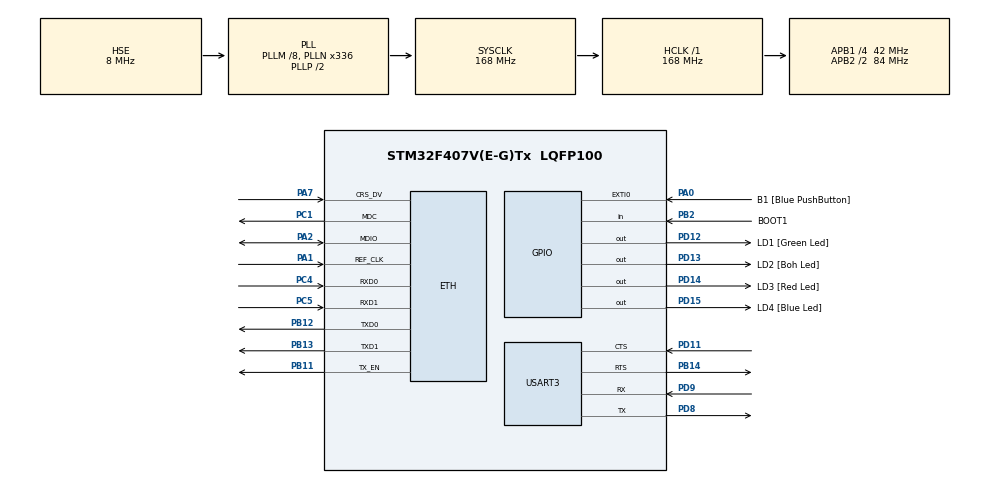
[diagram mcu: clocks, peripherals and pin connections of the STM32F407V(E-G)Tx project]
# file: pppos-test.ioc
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ETH.MediaInterface=HAL_ETH_RMII_MODE
FREERTOS.Tasks01=defaultTask,0,1280,StartDefaultTask,Default,NULL,Dynamic,NULL,NULL
FREERTOS.configTOTAL_HEAP_SIZE=30720
FREERTOS.configUSE_NEWLIB_REENTRANT=1
LWIP.BSP.number=1
LWIP.CHAP_SUPPORT=1
LWIP.CHECKSUM_GEN_IP=1
LWIP.CHECKSUM_GEN_TCP=1
LWIP.LWIP_INCLUDED_POLARSSL_ARC4=1
LWIP.LWIP_INCLUDED_POLARSSL_DES=1
LWIP.LWIP_INCLUDED_POLARSSL_MD4=1
LWIP.LWIP_INCLUDED_POLARSSL_SHA1=1
LWIP.MEMP_NUM_SYS_TIMEOUT=8
LWIP.PAP_SUPPORT=1
LWIP.PPPOS_SUPPORT=1
LWIP.PPP_SUPPORT=1
LWIP.Version=v2.1.2_Cube
LWIP0.BSP.STBoard=false
LWIP0.BSP.api=BSP_COMPONENT_DRIVER
LWIP0.BSP.component=LAN8742
LWIP0.BSP.instance=LAN8742
LWIP0.BSP.name=Driver_PHY
LWIP0.BSP.semaphore=S_LAN8742
LWIP0.BSP.solution=LAN8742
Mcu.Family=STM32F4
Mcu.Name=STM32F407V(E-G)Tx
Mcu.Package=LQFP100
NVIC.ETH_IRQn=true\:5\:0\:false\:false\:true\:true\:false\:true\:true
NVIC.PriorityGroup=NVIC_PRIORITYGROUP_4
NVIC.TIM1_UP_TIM10_IRQn=true\:15\:0\:false\:false\:true\:false\:false\:true\:true
NVIC.TimeBase=TIM1_UP_TIM10_IRQn
NVIC.TimeBaseIP=TIM1
PA0-WKUP.GPIO_Label=B1 [Blue PushButton]
PA0-WKUP.GPIO_ModeDefaultEXTI=GPIO_MODE_EVT_RISING
PA0-WKUP.GPIO_PuPd=GPIO_NOPULL
PA0-WKUP.Signal=GPXTI0
PA1.Mode=RMII
PA1.Signal=ETH_REF_CLK
PA13.GPIO_Label=SWDIO
PA13.Mode=Trace_Asynchronous_SW
PA13.Signal=SYS_JTMS-SWDIO
PA14.GPIO_Label=SWCLK
PA14.Mode=Trace_Asynchronous_SW
PA14.Signal=SYS_JTCK-SWCLK
PA2.Mode=RMII
PA2.Signal=ETH_MDIO
PA7.Mode=RMII
PA7.Signal=ETH_CRS_DV
PB11.Mode=RMII
PB11.Signal=ETH_TX_EN
PB12.Mode=RMII
PB12.Signal=ETH_TXD0
PB13.Mode=RMII
PB13.Signal=ETH_TXD1
PB14.Mode=CTS_RTS
PB14.Signal=USART3_RTS
PB2.GPIO_Label=BOOT1
PB2.GPIO_Mode=GPIO_MODE_INPUT
PB2.GPIO_PuPd=GPIO_NOPULL
PB2.Signal=GPIO_Input
PB3.GPIO_Label=SWO
PB3.Mode=Trace_Asynchronous_SW
PB3.Signal=SYS_JTDO-SWO
PC1.Mode=RMII
PC1.Signal=ETH_MDC
PC14-OSC32_IN.GPIO_Label=PC14-OSC32_IN
PC14-OSC32_IN.Mode=LSE-External-Oscillator
PC14-OSC32_IN.Signal=RCC_OSC32_IN
PC15-OSC32_OUT.GPIO_Label=PC15-OSC32_OUT
PC15-OSC32_OUT.Mode=LSE-External-Oscillator
PC15-OSC32_OUT.Signal=RCC_OSC32_OUT
PC4.Mode=RMII
PC4.Signal=ETH_RXD0
PC5.Mode=RMII
PC5.Signal=ETH_RXD1
PD11.Mode=CTS_RTS
PD11.Signal=USART3_CTS
PD12.GPIO_Label=LD1 [Green Led]
PD12.GPIO_PuPd=GPIO_NOPULL
PD12.GPIO_Speed=GPIO_SPEED_FREQ_LOW
PD12.Signal=GPIO_Output
PD13.GPIO_Label=LD2 [Boh Led]
PD13.Signal=GPIO_Output
PD14.GPIO_Label=LD3 [Red Led]
PD14.GPIO_PuPd=GPIO_NOPULL
PD14.GPIO_Speed=GPIO_SPEED_FREQ_LOW
PD14.Signal=GPIO_Output
PD15.GPIO_Label=LD4 [Blue Led]
PD15.GPIO_PuPd=GPIO_NOPULL
PD15.GPIO_Speed=GPIO_SPEED_FREQ_LOW
PD15.Signal=GPIO_Output
PD8.Mode=Asynchronous
PD8.Signal=USART3_TX
PD9.Mode=Asynchronous
PD9.Signal=USART3_RX
PH0-OSC_IN.GPIO_Label=PH0-OSC_IN
PH0-OSC_IN.Mode=HSE-External-Oscillator
PH0-OSC_IN.Signal=RCC_OSC_IN
PH1-OSC_OUT.GPIO_Label=PH1-OSC_OUT
PH1-OSC_OUT.Mode=HSE-External-Oscillator
PH1-OSC_OUT.Signal=RCC_OSC_OUT
ProjectManager.HeapSize=0x200
ProjectManager.StackSize=0x400
ProjectManager.TargetToolchain=STM32CubeIDE
RCC.48MHZClocksFreq_Value=48000000
RCC.AHBFreq_Value=168000000
RCC.APB1CLKDivider=RCC_HCLK_DIV4
RCC.APB1Freq_Value=42000000
RCC.APB1TimFreq_Value=84000000
RCC.APB2CLKDivider=RCC_HCLK_DIV2
RCC.APB2Freq_Value=84000000
RCC.APB2TimFreq_Value=168000000
RCC.CortexFreq_Value=168000000
RCC.HCLKFreq_Value=168000000
RCC.HSE_VALUE=8000000
RCC.HSI_VALUE=16000000
RCC.PLLM=8
RCC.PLLN=336
RCC.PLLQ=7
RCC.PLLSourceVirtual=RCC_PLLSOURCE_HSE
RCC.SYSCLKFreq_VALUE=168000000
RCC.SYSCLKSource=RCC_SYSCLKSOURCE_PLLCLK
RCC.VCOOutputFreq_Value=336000000
USART3.VirtualMode=VM_ASYNC
VP_FREERTOS_VS_CMSIS_V1.Mode=CMSIS_V1
VP_LWIP_VS_Enabled.Mode=Enabled
VP_SYS_VS_tim1.Mode=TIM1
board=STM32F407G-DISC1

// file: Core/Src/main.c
/* USER CODE BEGIN Header */
/**
  ******************************************************************************
  * @file           : main.c
  * @brief          : Main program body
  ******************************************************************************
  * @attention
  *
  * Copyright (c) 2023 STMicroelectronics.
  * All rights reserved.
  *
  * This software is licensed under terms that can be found in the LICENSE file
  * in the root directory of this software component.
  * If no LICENSE file comes with this software, it is provided AS-IS.
  *
  ******************************************************************************
  */
/* USER CODE END Header */
#include "main.h"
#include "cmsis_os.h"
#include "lwip.h"

UART_HandleTypeDef huart3;

osThreadId defaultTaskHandle;

void SystemClock_Config(void);
static void MX_GPIO_Init(void);
static void MX_USART3_UART_Init(void);
void StartDefaultTask(void const * argument);

int main(void)
{

  /* MCU Configuration--------------------------------------------------------*/

  /* Reset of all peripherals, Initializes the Flash interface and the Systick. */
  HAL_Init();

  /* Configure the system clock */
  SystemClock_Config();

  /* Initialize all configured peripherals */
  MX_GPIO_Init();
  MX_USART3_UART_Init();

  /* Create the thread(s) */
  /* definition and creation of defaultTask */
  osThreadDef(defaultTask, StartDefaultTask, osPriorityNormal, 0, 1280);
  defaultTaskHandle = osThreadCreate(osThread(defaultTask), NULL);

  /* Start scheduler */
  osKernelStart();
  /* We should never get here as control is now taken by the scheduler */
  /* Infinite loop */
  while (1)
  {

  }
}

void SystemClock_Config(void)
{
  RCC_OscInitTypeDef RCC_OscInitStruct = {0};
  RCC_ClkInitTypeDef RCC_ClkInitStruct = {0};

  /** Configure the main internal regulator output voltage
  */
  __HAL_RCC_PWR_CLK_ENABLE();
  __HAL_PWR_VOLTAGESCALING_CONFIG(PWR_REGULATOR_VOLTAGE_SCALE1);

  /** Initializes the RCC Oscillators according to the specified parameters
  * in the RCC_OscInitTypeDef structure.
  */
  RCC_OscInitStruct.OscillatorType = RCC_OSCILLATORTYPE_HSE;
  RCC_OscInitStruct.HSEState = RCC_HSE_ON;
  RCC_OscInitStruct.PLL.PLLState = RCC_PLL_ON;
  RCC_OscInitStruct.PLL.PLLSource = RCC_PLLSOURCE_HSE;
  RCC_OscInitStruct.PLL.PLLM = 8;
  RCC_OscInitStruct.PLL.PLLN = 336;
  RCC_OscInitStruct.PLL.PLLP = RCC_PLLP_DIV2;
  RCC_OscInitStruct.PLL.PLLQ = 7;
  if (HAL_RCC_OscConfig(&RCC_OscInitStruct) != HAL_OK)
  {
    Error_Handler();
  }

  /** Initializes the CPU, AHB and APB buses clocks
  */
  RCC_ClkInitStruct.ClockType = RCC_CLOCKTYPE_HCLK|RCC_CLOCKTYPE_SYSCLK
                              |RCC_CLOCKTYPE_PCLK1|RCC_CLOCKTYPE_PCLK2;
  RCC_ClkInitStruct.SYSCLKSource = RCC_SYSCLKSOURCE_PLLCLK;
  RCC_ClkInitStruct.AHBCLKDivider = RCC_SYSCLK_DIV1;
  RCC_ClkInitStruct.APB1CLKDivider = RCC_HCLK_DIV4;
  RCC_ClkInitStruct.APB2CLKDivider = RCC_HCLK_DIV2;

  if (HAL_RCC_ClockConfig(&RCC_ClkInitStruct, FLASH_LATENCY_5) != HAL_OK)
  {
    Error_Handler();
  }
}

static void MX_USART3_UART_Init(void)
{

  huart3.Instance = USART3;
  huart3.Init.BaudRate = 115200;
  huart3.Init.WordLength = UART_WORDLENGTH_8B;
  huart3.Init.StopBits = UART_STOPBITS_1;
  huart3.Init.Parity = UART_PARITY_NONE;
  huart3.Init.Mode = UART_MODE_TX_RX;
  huart3.Init.HwFlowCtl = UART_HWCONTROL_RTS_CTS;
  huart3.Init.OverSampling = UART_OVERSAMPLING_16;
  if (HAL_UART_Init(&huart3) != HAL_OK)
  {
    Error_Handler();
  }

}

static void MX_GPIO_Init(void)
{
  GPIO_InitTypeDef GPIO_InitStruct = {0};

  /* GPIO Ports Clock Enable */
  __HAL_RCC_GPIOC_CLK_ENABLE();
  __HAL_RCC_GPIOH_CLK_ENABLE();
  __HAL_RCC_GPIOA_CLK_ENABLE();
  __HAL_RCC_GPIOB_CLK_ENABLE();
  __HAL_RCC_GPIOD_CLK_ENABLE();

  /*Configure GPIO pin Output Level */
  HAL_GPIO_WritePin(GPIOD, LD1_Pin|LD2_Pin|LD3_Pin|LD4_Pin, GPIO_PIN_RESET);

  /*Configure GPIO pin : B1_Pin */
  GPIO_InitStruct.Pin = B1_Pin;
  GPIO_InitStruct.Mode = GPIO_MODE_EVT_RISING;
  GPIO_InitStruct.Pull = GPIO_NOPULL;
  HAL_GPIO_Init(B1_GPIO_Port, &GPIO_InitStruct);

  /*Configure GPIO pin : BOOT1_Pin */
  GPIO_InitStruct.Pin = BOOT1_Pin;
  GPIO_InitStruct.Mode = GPIO_MODE_INPUT;
  GPIO_InitStruct.Pull = GPIO_NOPULL;
  HAL_GPIO_Init(BOOT1_GPIO_Port, &GPIO_InitStruct);

  /*Configure GPIO pins : LD1_Pin LD2_Pin LD3_Pin LD4_Pin */
  GPIO_InitStruct.Pin = LD1_Pin|LD2_Pin|LD3_Pin|LD4_Pin;
  GPIO_InitStruct.Mode = GPIO_MODE_OUTPUT_PP;
  GPIO_InitStruct.Pull = GPIO_NOPULL;
  GPIO_InitStruct.Speed = GPIO_SPEED_FREQ_LOW;
  HAL_GPIO_Init(GPIOD, &GPIO_InitStruct);

}

/* USER CODE BEGIN 4 */
#include "usart.h"
#include "logger.h"
#include "sockets.h"
typedef uint32_t SOCKET;
#define MAX_MESSAGE_LENGTH 100
/* USER CODE END 4 */

void StartDefaultTask(void const * argument)
{
  /* init code for LWIP */
//  MX_LWIP_Init();
  /* USER CODE BEGIN 5 */
//  usart_Open();
  MX_LWIP_Init();
  /* Infinite loop */

  uint8_t sendStr[] = "Test message TCP/IP.";
  uint8_t resvStr[MAX_MESSAGE_LENGTH] = {0};
  int resvLength = 0;

  struct sockaddr_in sockAddr;
  sockAddr.sin_family = AF_INET;
  sockAddr.sin_port = htons(6565);
  uint32_t addr = inet_addr("192.168.10.97");
  sockAddr.sin_addr.s_addr = addr;

  SOCKET socket = (SOCKET)NULL;
  int nError = 0;

  for(;;)
  {
	  HAL_GPIO_WritePin(GPIOD, GPIO_PIN_12|GPIO_PIN_13|GPIO_PIN_14|GPIO_PIN_15, GPIO_PIN_SET);
	  osDelay(1000);
	  HAL_GPIO_WritePin(GPIOD, GPIO_PIN_12|GPIO_PIN_13|GPIO_PIN_14|GPIO_PIN_15, GPIO_PIN_RESET);
	  osDelay(1000);

	  socket = socket(AF_INET, SOCK_STREAM, 0);
	  nError = connect(socket, (struct sockaddr*)&sockAddr, sizeof(sockAddr));
	  if (nError ==  0)
	  {
		  nError = send(socket, sendStr, sizeof(sendStr)-1, 0);
		  if (nError <  0)
			  logger("SEND ERROR %d\n", nError);
		  else
		  {
			  logger("SEND - %s\n", sendStr);
			  resvLength = 0;
			  while(resvLength < 1)
				  resvLength = lwip_recv(socket, resvStr, sizeof(resvStr), MSG_WAITALL);
			  resvStr[resvLength]=0;
			  logger("GET - %s\n", resvStr);
		  }
		  lwip_close(socket);
	  }
	  else
		  logger("CONNECT ERROR %d\n", nError);
  }
  /* USER CODE END 5 */
}

void HAL_TIM_PeriodElapsedCallback(TIM_HandleTypeDef *htim)
{
  if (htim->Instance == TIM1) {
    HAL_IncTick();
  }
}

void Error_Handler(void)
{
  __disable_irq();
  while (1)
  {
  }
}
